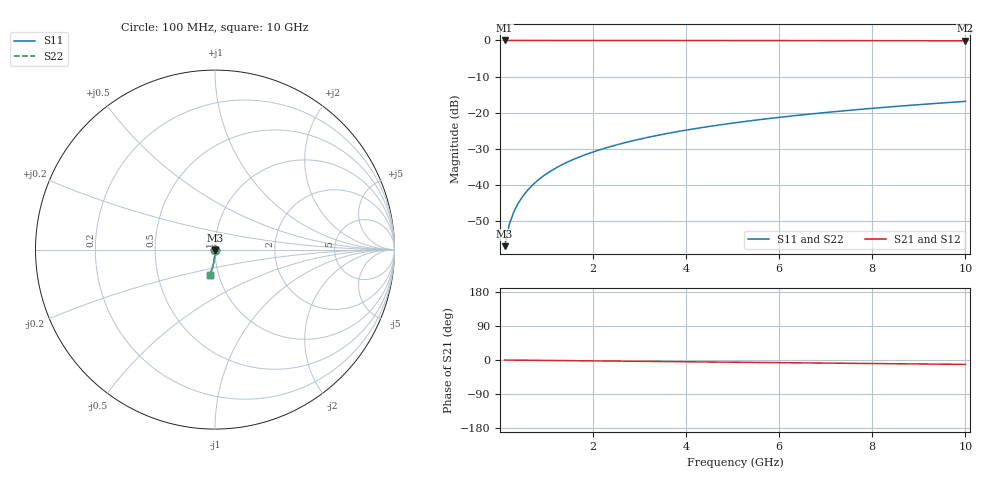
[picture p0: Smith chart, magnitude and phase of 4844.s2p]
# Hz S RI R 50.00
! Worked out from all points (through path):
!   100 points, 100 MHz to 10 GHz, reference 50 ohm
!   highest |S21| = 0.00 dB at 100 MHz (marker M1); lowest = -0.1 dB at 10 GHz (marker M2)
!   group delay of S21, straight-line fit = 3.23 ps
!   lowest |S11| = -56.8 dB at 100 MHz (marker M3), VSWR 1.00, Z = 50 - j0.144 ohm
!   |S11| at or under -10 dB: start of sweep to end of sweep
!   |S22| runs from -56.8 to -16.8 dB; largest |S21 - S12| = 0
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1e8  7.39e-05 -0.00144  0.9999 -0.00201  0.9999 -0.00201  7.39e-05 -0.00144
2e8  6.41e-05 -0.00288  0.9999 -0.00402  0.9999 -0.00402  6.41e-05 -0.00288
3e8  4.83e-05 -0.00432  0.9999 -0.00603  0.9999 -0.00603  4.83e-05 -0.00432
4e8  2.67e-05 -0.00576  0.9999 -0.00804  0.9999 -0.00804  2.67e-05 -0.00576
5e8  -7.33e-07 -0.0072  0.9998 -0.0101  0.9998 -0.0101  -7.33e-07 -0.0072
6e8  -3.4e-05 -0.00864  0.9998 -0.0121  0.9998 -0.0121  -3.4e-05 -0.00864
7e8  -7.31e-05 -0.0101  0.9998 -0.0141  0.9998 -0.0141  -7.31e-05 -0.0101
8e8  -0.000118 -0.0115  0.9997 -0.0161  0.9997 -0.0161  -0.000118 -0.0115
9e8  -0.000169 -0.013  0.9997 -0.0181  0.9997 -0.0181  -0.000169 -0.013
1.1e9  -0.000288 -0.0158  0.9995 -0.0221  0.9995 -0.0221  -0.000288 -0.0158
1.4e9  -0.00051 -0.0202  0.9993 -0.0282  0.9993 -0.0282  -0.00051 -0.0202
1.8e9  -0.000887 -0.0259  0.9989 -0.0362  0.9989 -0.0362  -0.000887 -0.0259
2.1e9  -0.00123 -0.0302  0.9985 -0.0422  0.9985 -0.0422  -0.00123 -0.0302
2.5e9  -0.00177 -0.036  0.998 -0.0503  0.998 -0.0503  -0.00177 -0.036
2.9e9  -0.00241 -0.0418  0.9973 -0.0583  0.9973 -0.0583  -0.00241 -0.0418
3.4e9  -0.00333 -0.049  0.9963 -0.0684  0.9963 -0.0684  -0.00333 -0.049
4.2e9  -0.00512 -0.0604  0.9944 -0.0845  0.9944 -0.0845  -0.00512 -0.0604
5.1e9  -0.00757 -0.0733  0.9918 -0.1025  0.9918 -0.1025  -0.00757 -0.0733
5.9e9  -0.0102 -0.0846  0.9891 -0.1185  0.9891 -0.1185  -0.0102 -0.0846
6.7e9  -0.0131 -0.0959  0.986 -0.1344  0.986 -0.1344  -0.0131 -0.0959
8.4e9  -0.0206 -0.1195  0.9781 -0.168  0.9781 -0.168  -0.0206 -0.1195
1e10  -0.029 -0.1411  0.9691 -0.199  0.9691 -0.199  -0.029 -0.1411
